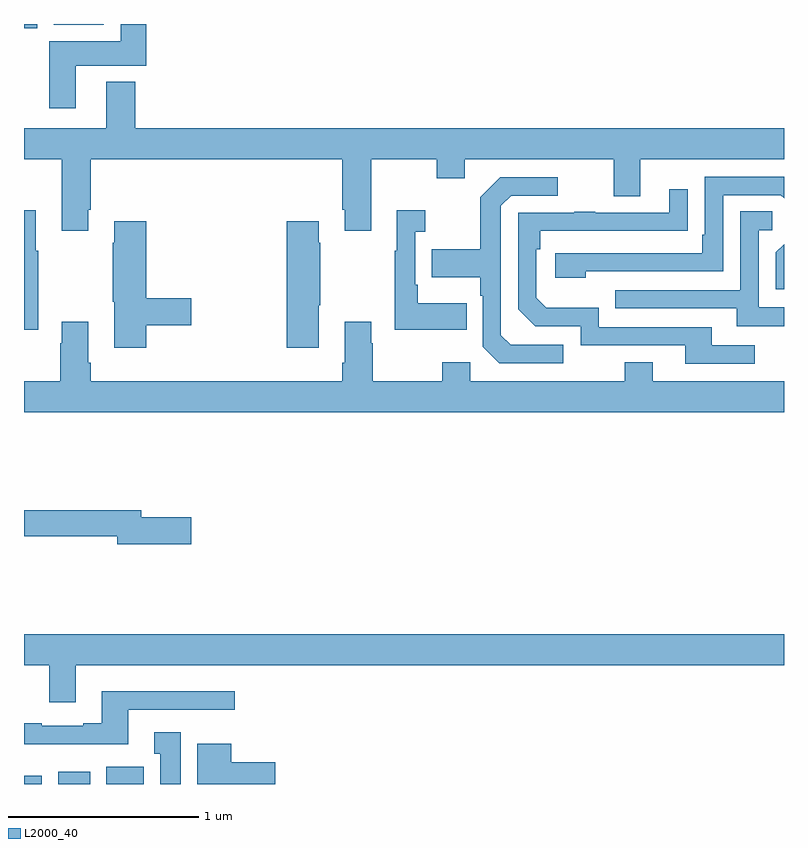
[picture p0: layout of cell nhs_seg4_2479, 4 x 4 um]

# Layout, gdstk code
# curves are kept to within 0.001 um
import gdstk
lib = gdstk.Library(unit=1e-6, precision=1e-09)
def R(c, l, rs):  # rectangles x0, y0, x1, y1
    for r in rs: c.add(gdstk.rectangle(r[:2], r[2:], *l))
def P(c, l, *ps):  # polygons
    for p in ps: c.add(gdstk.Polygon(p, *l))
L2000_40 = (2000, 40)

nhs_seg4_2479 = lib.new_cell('nhs_seg4_2479')
R(nhs_seg4_2479, L2000_40, [(241,758.9,241.093,758.944), (241.181,758.9,241.348,758.965), (241.433,758.9,241.63,758.992), (241,762.878,241.069,762.9), (241.157,762.896,241.42,762.9)])
P(nhs_seg4_2479, L2000_40, [(241.273,762.68),(241.643,762.68),(241.643,762.9),(241.508,762.9),(241.508,762.808),(241.133,762.808),(241.133,762.456),(241.273,762.456)],
  [(241.339,761.923),(241.352,761.923),(241.352,762.188),(242.675,762.188),(242.675,761.923),(242.687,761.923),(242.687,761.811),(242.827,761.811),(242.827,762.188),(243.172,762.188),(243.172,762.089),(243.319,762.089),(243.319,762.188),(244.103,762.188),(244.103,761.994),(244.243,761.994),(244.243,762.188),(245,762.188),(245,762.352),(241.586,762.352),(241.586,762.595),(241.433,762.595),(241.433,762.352),(241,762.352),(241,762.188),(241.199,762.188),(241.199,761.811),(241.339,761.811)],
  [(243.956,761.598),(244.68,761.598),(244.68,762),(244.983,762),(245,761.983),(245,762.096),(244.584,762.096),(244.584,761.791),(244.571,761.791),(244.571,761.694),(243.795,761.694),(243.795,761.564),(243.956,761.564)],
  [(243.838,761.211),(243.561,761.211),(243.51,761.262),(243.51,761.943),(243.564,761.997),(243.808,761.997),(243.808,762.093),(243.507,762.093),(243.402,761.987),(243.402,761.715),(243.145,761.715),(243.145,761.567),(243.402,761.567),(243.402,761.471),(243.414,761.471),(243.414,761.202),(243.501,761.115),(243.838,761.115)],
  [(244.846,761.208),(244.621,761.208),(244.621,761.304),(244.026,761.304),(244.026,761.407),(243.749,761.407),(243.696,761.46),(243.696,761.714),(243.716,761.714),(243.716,761.811),(244.493,761.812),(244.493,762.031),(244.397,762.031),(244.397,761.907),(244.007,761.907),(244.007,761.912),(243.895,761.912),(243.895,761.907),(243.6,761.907),(243.6,761.4),(243.69,761.31),(243.93,761.31),(243.93,761.208),(244.481,761.208),(244.481,761.112),(244.846,761.112)],
  [(241.075,761.707),(241.063,761.707),(241.063,761.92),(241,761.92),(241,761.291),(241.075,761.291)],
  [(243.329,761.431),(243.073,761.431),(243.073,761.527),(243.06,761.527),(243.06,761.807),(243.112,761.807),(243.112,761.92),(242.963,761.92),(242.963,761.707),(242.952,761.707),(242.952,761.291),(243.329,761.291)],
  [(245,761.409),(244.866,761.409),(244.866,761.814),(244.939,761.814),(244.939,761.915),(244.77,761.915),(244.77,761.499),(244.111,761.499),(244.111,761.403),(244.751,761.403),(244.751,761.309),(245,761.309)],
  [(241.643,761.314),(241.879,761.314),(241.879,761.456),(241.643,761.456),(241.643,761.863),(241.475,761.863),(241.475,761.75),(241.468,761.75),(241.468,761.439),(241.475,761.439),(241.475,761.196),(241.643,761.196)],
  [(242.551,761.419),(242.559,761.419),(242.559,761.75),(242.551,761.75),(242.551,761.863),(242.384,761.863),(242.384,761.196),(242.551,761.196)],
  [(245,761.742),(244.956,761.698),(244.956,761.505),(245,761.505)],
  [(245,761.02),(244.309,761.02),(244.309,761.119),(244.162,761.119),(244.162,761.02),(243.348,761.02),(243.348,761.119),(243.202,761.119),(243.202,761.02),(242.835,761.02),(242.835,761.219),(242.827,761.219),(242.827,761.332),(242.687,761.332),(242.687,761.116),(242.675,761.116),(242.675,761.02),(241.352,761.02),(241.352,761.116),(241.339,761.116),(241.339,761.332),(241.199,761.332),(241.199,761.219),(241.192,761.219),(241.192,761.02),(241,761.02),(241,760.856),(245,760.856)],
  [(241.879,760.304),(241.618,760.304),(241.618,760.34),(241,760.34),(241,760.204),(241.49,760.204),(241.49,760.162),(241.879,760.162)],
  [(241.273,759.524),(245,759.524),(245,759.688),(241,759.688),(241,759.524),(241.133,759.524),(241.133,759.33),(241.273,759.33)],
  [(241.549,759.291),(242.11,759.291),(242.11,759.388),(241.409,759.388),(241.409,759.22),(241.313,759.22),(241.313,759.207),(241.093,759.207),(241.093,759.22),(241,759.22),(241,759.11),(241.549,759.11)],
  [(241.825,759.172),(241.685,759.172),(241.685,759.059),(241.718,759.059),(241.718,758.9),(241.825,758.9)],
  [(242.323,759.014),(242.092,759.014),(242.092,759.112),(241.913,759.112),(241.913,758.9),(242.323,758.9)])

lib.write_gds('nhs_seg4_2479.gds')
